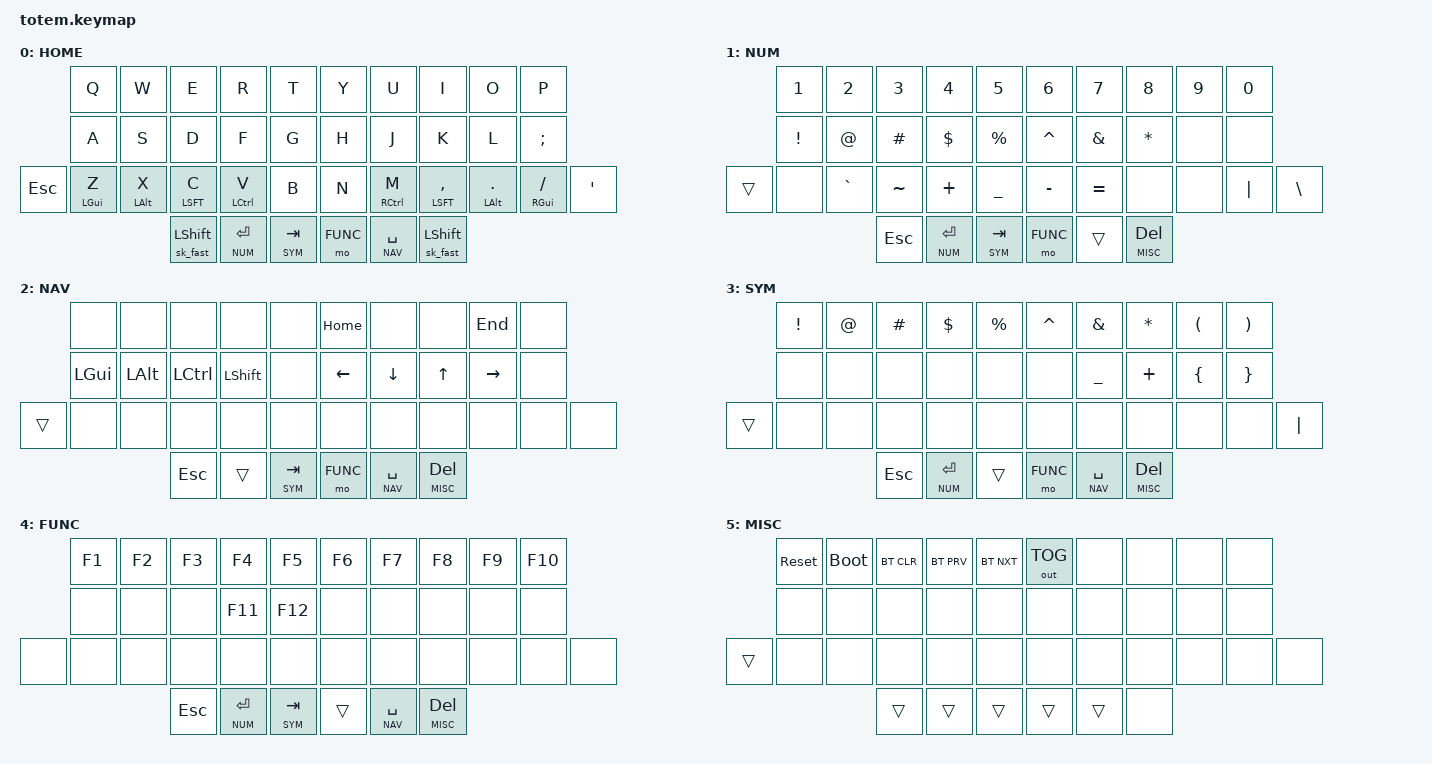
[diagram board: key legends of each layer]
//
//                                                        ▀▀▀▀▀     ▀▀▀▀▀          ▀▀█▀▀
//                                                        ▄▀▀▀▄  ▄  ▄▀▀▀▄  ▄  ▄▀▀▀▄  █  ▄▀▀▀▄
//                                                        █   █  █  █   █  █  █   █  █  █   █
//                                                         ▀▀▀   █   ▀▀▀   █   ▀▀▀   ▀   ▀▀▀
//                                                               █      ▄▄▄█▄▄▄    █   █
//                                                               ▀      █  █  █     █▄█
//                                                             ▀▀▀▀▀    █  █  █      ▀
//                                                                      ▀  ▀  ▀
//
// ▄▄▄▄▄▄▄▄▄▄▄▄▄▄▄▄▄▄▄▄▄▄▄▄▄▄▄▄▄▄▄▄▄▄▄▄▄▄▄▄▄▄▄▄▄▄▄▄▄▄▄▄▄▄▄▄▄▄▄▄▄▄▄▄▄▄▄▄▄▄▄▄▄▄▄▄▄▄▄▄▄▄▄▄▄▄▄▄▄▄▄▄▄▄▄▄▄▄▄▄▄▄▄▄▄▄▄▄▄▄▄▄▄▄▄▄▄▄▄▄▄▄▄▄▄▄▄▄▄▄▄▄▄▄▄▄▄▄▄▄▄▄▄▄▄▄▄▄▄
//
// Ported from a QMK keymap (LAYOUT_split_3x6_3) that emulated the Totem's 38-key
// layout by blanking the outer-pinky TOP/BOTTOM keys and keeping only the extra
// HOME-row-outer keys (ESC / '). On real Totem hardware the extra key per side
// lives on the BOTTOM row instead (see totem.dtsi matrix transform), so those two
// keys are shifted down onto the bottom-row outer positions here.
//
// Deviation from the QMK source: the MISC layer was entirely unused there (no
// RGB matrix on Totem), so it now holds reset/bootloader/BT controls, which a
// split BLE board needs some way to reach.

#include <behaviors.dtsi>
#include <dt-bindings/zmk/keys.h>
#include <dt-bindings/zmk/bt.h>
#include <dt-bindings/zmk/outputs.h>

#define BASE 0
#define NUM  1
#define NAV  2
#define SYM  3
#define FUNC 4
#define MISC 5

&mt {
  quick-tap-ms = <100>;
  global-quick-tap;
  flavor = "tap-preferred";
  tapping-term-ms = <170>;
};

/ {
    behaviors {
        // Stock &sk releases the modifier on the *release* of the next key,
        // so fast rollover typing can shift more than one key. quick-release
        // instead releases it as soon as the next key is pressed.
        sk_fast: sk_fast {
            compatible = "zmk,behavior-sticky-key";
            #binding-cells = <1>;
            bindings = <&kp>;
            release-after-ms = <1000>;
            quick-release;
        };
    };

    combos {
        compatible = "zmk,combos";
        // I+U -> caps word
        combo_caps_word {
            timeout-ms = <50>;
            key-positions = <6 7>;
            bindings = <&caps_word>;
        };
        // M+, -> backspace
        combo_bspc {
            timeout-ms = <50>;
            key-positions = <27 28>;
            bindings = <&kp BSPC>;
        };
        // E+D=( I+K=)  R+F={ U+J=}  T+G=[ Y+H=]
        combo_lpar {
            timeout-ms = <50>;
            key-positions = <2 12>;
            bindings = <&kp LPAR>;
        };
        combo_rpar {
            timeout-ms = <50>;
            key-positions = <7 17>;
            bindings = <&kp RPAR>;
        };
        combo_lbrc {
            timeout-ms = <50>;
            key-positions = <3 13>;
            bindings = <&kp LBRC>;
        };
        combo_rbrc {
            timeout-ms = <50>;
            key-positions = <6 16>;
            bindings = <&kp RBRC>;
        };
        combo_lbkt {
            timeout-ms = <50>;
            key-positions = <4 14>;
            bindings = <&kp LBKT>;
        };
        combo_rbkt {
            timeout-ms = <50>;
            key-positions = <5 15>;
            bindings = <&kp RBKT>;
        };
        // D+C -> copy, F+V -> paste
        combo_copy {
            timeout-ms = <50>;
            key-positions = <12 23>;
            bindings = <&kp LC(C)>;
        };
        combo_paste {
            timeout-ms = <50>;
            key-positions = <13 24>;
            bindings = <&kp LC(V)>;
        };
    };

    keymap {
        compatible = "zmk,keymap";
// ▄▄▄▄▄▄▄▄▄▄▄▄▄▄▄▄▄▄▄▄▄▄▄▄▄▄▄▄▄▄▄▄▄▄▄▄▄▄▄▄▄▄▄▄▄▄▄▄▄▄▄▄▄▄▄▄▄▄▄▄▄▄▄▄▄▄▄▄▄▄▄▄▄▄▄▄▄▄▄▄▄▄▄▄▄▄▄▄▄▄▄▄▄▄▄▄▄▄▄▄▄▄▄▄▄▄▄▄▄▄▄▄▄▄▄▄▄▄▄▄▄▄▄▄▄▄▄▄▄▄▄▄▄▄▄▄▄▄▄▄▄▄▄▄▄▄▄▄▄

        home_layer {
// HOME: plain QWERTY, mods live on the bottom row (GUI/ALT/SHIFT/CTRL mirrored
// out from center), ESC and ' on the bottom-row outer keys.
label = "HOME";
bindings = <
    &kp Q        &kp W        &kp E        &kp R        &kp T             &kp Y        &kp U        &kp I        &kp O        &kp P
    &kp A        &kp S        &kp D        &kp F        &kp G             &kp H        &kp J        &kp K        &kp L        &kp SEMI
&kp ESC &mt LGUI Z   &mt LALT X   &mt LSFT C   &mt LCTL V   &kp B             &kp N        &mt RCTL M   &mt LSFT COMMA &mt LALT DOT &mt RGUI FSLH &kp SQT
                                  &sk_fast LSHFT &lt NUM RET  &lt SYM TAB     &mo FUNC     &lt NAV SPACE &sk_fast LSHFT
>;
        };

// ▄▄▄▄▄▄▄▄▄▄▄▄▄▄▄▄▄▄▄▄▄▄▄▄▄▄▄▄▄▄▄▄▄▄▄▄▄▄▄▄▄▄▄▄▄▄▄▄▄▄▄▄▄▄▄▄▄▄▄▄▄▄▄▄▄▄▄▄▄▄▄▄▄▄▄▄▄▄▄▄▄▄▄▄▄▄▄▄▄▄▄▄▄▄▄▄▄▄▄▄▄▄▄▄▄▄▄▄▄▄▄▄▄▄▄▄▄▄▄▄▄▄▄▄▄▄▄▄▄▄▄▄▄▄▄▄▄▄▄▄▄▄▄▄▄▄▄▄▄

        num_layer {
// NUM: number row on top, shifted symbol directly below each number.
label = "NUM";
bindings = <
    &kp N1       &kp N2       &kp N3       &kp N4       &kp N5            &kp N6       &kp N7       &kp N8       &kp N9       &kp N0
    &kp EXCL     &kp AT       &kp HASH     &kp DLLR     &kp PRCNT         &kp CARET    &kp AMPS     &kp ASTERISK &none        &none
&trans  &none        &kp GRAVE    &kp TILDE    &kp PLUS     &kp UNDERSCORE    &kp MINUS    &kp EQUAL    &none        &none        &kp PIPE      &kp BSLH
                                  &kp ESC      &lt NUM RET  &lt SYM TAB       &mo FUNC     &trans       &lt MISC DEL
>;
        };

// ▄▄▄▄▄▄▄▄▄▄▄▄▄▄▄▄▄▄▄▄▄▄▄▄▄▄▄▄▄▄▄▄▄▄▄▄▄▄▄▄▄▄▄▄▄▄▄▄▄▄▄▄▄▄▄▄▄▄▄▄▄▄▄▄▄▄▄▄▄▄▄▄▄▄▄▄▄▄▄▄▄▄▄▄▄▄▄▄▄▄▄▄▄▄▄▄▄▄▄▄▄▄▄▄▄▄▄▄▄▄▄▄▄▄▄▄▄▄▄▄▄▄▄▄▄▄▄▄▄▄▄▄▄▄▄▄▄▄▄▄▄▄▄▄▄▄▄▄▄

        nav_layer {
label = "NAV";
bindings = <
    &none        &none        &none        &none        &none             &kp HOME     &none        &none        &kp END      &none
    &kp LGUI     &kp LALT     &kp LCTRL    &kp LSHFT    &none             &kp LEFT     &kp DOWN     &kp UP       &kp RIGHT    &none
&trans  &none        &none        &none        &none        &none             &none        &none        &none        &none        &none         &none
                                  &kp ESC      &trans       &lt SYM TAB       &mo FUNC     &lt NAV SPACE &lt MISC DEL
>;
        };

// ▄▄▄▄▄▄▄▄▄▄▄▄▄▄▄▄▄▄▄▄▄▄▄▄▄▄▄▄▄▄▄▄▄▄▄▄▄▄▄▄▄▄▄▄▄▄▄▄▄▄▄▄▄▄▄▄▄▄▄▄▄▄▄▄▄▄▄▄▄▄▄▄▄▄▄▄▄▄▄▄▄▄▄▄▄▄▄▄▄▄▄▄▄▄▄▄▄▄▄▄▄▄▄▄▄▄▄▄▄▄▄▄▄▄▄▄▄▄▄▄▄▄▄▄▄▄▄▄▄▄▄▄▄▄▄▄▄▄▄▄▄▄▄▄▄▄▄▄▄

        sym_layer {
// SYM: shifted mirror of NUM, everything sits above its NUM-layer counterpart.
label = "SYM";
bindings = <
    &kp EXCL     &kp AT       &kp HASH     &kp DLLR     &kp PRCNT         &kp CARET    &kp AMPS     &kp ASTERISK &kp LPAR     &kp RPAR
    &none        &none        &none        &none        &none             &none        &kp UNDERSCORE &kp PLUS   &kp LBRC     &kp RBRC
&trans  &none        &none        &none        &none        &none             &none        &none        &none        &none        &none         &kp PIPE
                                  &kp ESC      &lt NUM RET  &trans            &mo FUNC     &lt NAV SPACE &lt MISC DEL
>;
        };

// ▄▄▄▄▄▄▄▄▄▄▄▄▄▄▄▄▄▄▄▄▄▄▄▄▄▄▄▄▄▄▄▄▄▄▄▄▄▄▄▄▄▄▄▄▄▄▄▄▄▄▄▄▄▄▄▄▄▄▄▄▄▄▄▄▄▄▄▄▄▄▄▄▄▄▄▄▄▄▄▄▄▄▄▄▄▄▄▄▄▄▄▄▄▄▄▄▄▄▄▄▄▄▄▄▄▄▄▄▄▄▄▄▄▄▄▄▄▄▄▄▄▄▄▄▄▄▄▄▄▄▄▄▄▄▄▄▄▄▄▄▄▄▄▄▄▄▄▄▄

        func_layer {
label = "FUNC";
bindings = <
    &kp F1       &kp F2       &kp F3       &kp F4       &kp F5            &kp F6       &kp F7       &kp F8       &kp F9       &kp F10
    &none        &none        &none        &kp F11      &kp F12           &none        &none        &none        &none        &none
&none   &none        &none        &none        &none        &none             &none        &none        &none        &none        &none         &none
                                  &kp ESC      &lt NUM RET  &lt SYM TAB       &trans       &lt NAV SPACE &lt MISC DEL
>;
        };

// ▄▄▄▄▄▄▄▄▄▄▄▄▄▄▄▄▄▄▄▄▄▄▄▄▄▄▄▄▄▄▄▄▄▄▄▄▄▄▄▄▄▄▄▄▄▄▄▄▄▄▄▄▄▄▄▄▄▄▄▄▄▄▄▄▄▄▄▄▄▄▄▄▄▄▄▄▄▄▄▄▄▄▄▄▄▄▄▄▄▄▄▄▄▄▄▄▄▄▄▄▄▄▄▄▄▄▄▄▄▄▄▄▄▄▄▄▄▄▄▄▄▄▄▄▄▄▄▄▄▄▄▄▄▄▄▄▄▄▄▄▄▄▄▄▄▄▄▄▄

        misc_layer {
// MISC: empty in the QMK source (no RGB matrix on Totem) - repurposed to hold
// reset/bootloader/BT controls, since it's otherwise unused.
label = "MISC";
bindings = <
    &sys_reset   &bootloader  &bt BT_CLR   &bt BT_PRV   &bt BT_NXT        &out OUT_TOG &none        &none        &none        &none
    &none        &none        &none        &none        &none             &none        &none        &none        &none        &none
&trans  &none        &none        &none        &none        &none             &none        &none        &none        &none        &none         &none
                                  &trans       &trans       &trans            &trans       &trans       &none
>;
        };
    };
};
